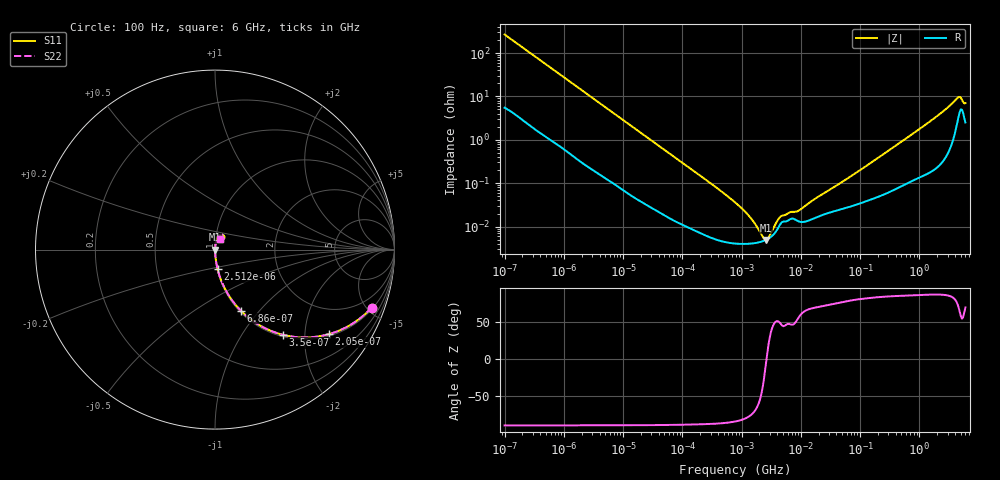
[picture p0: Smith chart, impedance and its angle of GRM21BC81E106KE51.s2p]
!Murata Part Number: GRM21BC81E106KE51
!These Parameters are Measured in Series Mode Connection
!Data Generated on Mar 30, 2021
!  o--ll--o
!Port1  Port2
!  o------o
!Operation Temp=25[degC], DC Bias Voltage=0[V]
!Freq. Start=100[Hz] Stop=6[GHz] 401[Steps]
# Hz S RI R 50
!Freq.(Hz) S11(Real) S11(Imag) S21(Real) S21(Imag) S12(Real) S12(Imag) S22(Real) S22(Imag)
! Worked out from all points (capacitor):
!   401 points, 100 Hz to 6 GHz, reference 50 ohm
!   read as one part in series: C = 5.92 uF near 109 Hz
!   lowest |Z| = 4.94 mohm at 2.595 MHz (marker M1)
!   series resonance near 2.637 MHz, so ESL is about 620 pH
!   S11 on the Smith chart (normalised r, x): 100 Hz: 1.11, -5.35; 205 Hz: 1.06, -2.64; 350 Hz: 1.03, -1.56; 686 Hz: 1.02, -0.80; 2.512 kHz: 1.00, -0.22; 6 GHz: 1.05, +0.13
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100  0.8724 -0.3236  0.1276 0.3236  0.1276 0.3236  0.8724 -0.3236
205  0.6336 -0.4714  0.3664 0.4714  0.3664 0.4714  0.6336 -0.4714
350  0.3796 -0.475  0.6204 0.475  0.6204 0.475  0.3796 -0.475
686  0.144 -0.3404  0.856 0.3404  0.856 0.3404  0.144 -0.3404
1122  0.0619 -0.2304  0.9381 0.2304  0.9381 0.2304  0.0619 -0.2304
2008  0.0218 -0.1356  0.9782 0.1356  0.9782 0.1356  0.0218 -0.1356
2512  0.0146 -0.1095  0.9854 0.1095  0.9854 0.1095  0.0146 -0.1095
7695  0.00224 -0.0369  0.9978 0.0369  0.9978 0.0369  0.00224 -0.0369
40335  0.000266 -0.00722  0.9997 0.00722  0.9997 0.00722  0.000266 -0.00722
774597  4.07e-05 -0.00036  1 0.00036  1 0.00036  4.07e-05 -0.00036
1212075  4e-05 -0.0002  1 0.0002  1 0.0002  4e-05 -0.0002
1813585  4.24e-05 -9e-05  1 9e-05  1 9e-05  4.24e-05 -9e-05
2594782  4.93e-05 -3.8e-06  1 3.8e-06  1 3.8e-06  4.93e-05 -3.8e-06
3394479  6.36e-05 6.25e-05  0.9999 -6.25e-05  0.9999 -6.25e-05  6.36e-05 6.25e-05
4643984  0.00012 0.000126  0.9999 -0.000126  0.9999 -0.000126  0.00012 0.000126
9090158  0.000133 0.000189  0.9999 -0.000189  0.9999 -0.000189  0.000133 0.000189
1.555665e7  0.000149 0.000366  0.9999 -0.000366  0.9999 -0.000366  0.000149 0.000366
3.124326e8  0.000656 0.00576  0.9993 -0.00576  0.9993 -0.00576  0.000656 0.00576
1.791126e9  0.00302 0.0312  0.997 -0.0312  0.997 -0.0312  0.00302 0.0312
4.385646e9  0.0315 0.083  0.9685 -0.083  0.9685 -0.083  0.0315 0.083
4.796499e9  0.048 0.0799  0.952 -0.0799  0.952 -0.0799  0.048 0.0799
6e9  0.0283 0.0618  0.9717 -0.0618  0.9717 -0.0618  0.0283 0.0618
